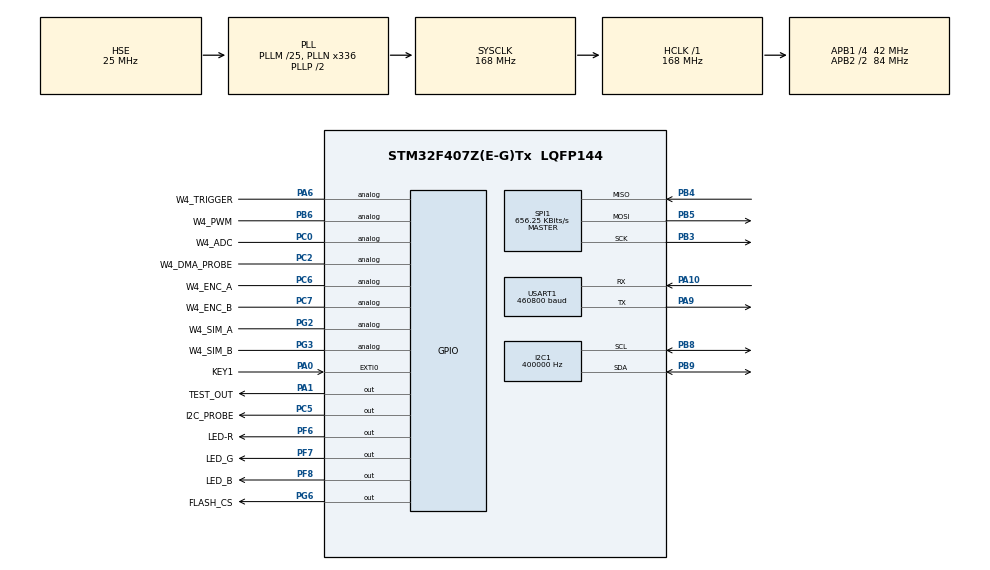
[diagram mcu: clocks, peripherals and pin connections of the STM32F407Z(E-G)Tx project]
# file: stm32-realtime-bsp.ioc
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Dma.Request0=USART1_RX
Dma.Request1=USART1_TX
Dma.USART1_RX.0.Channel=DMA_CHANNEL_4
Dma.USART1_RX.0.Direction=DMA_PERIPH_TO_MEMORY
Dma.USART1_RX.0.FIFOMode=DMA_FIFOMODE_DISABLE
Dma.USART1_RX.0.Instance=DMA2_Stream2
Dma.USART1_RX.0.MemDataAlignment=DMA_MDATAALIGN_BYTE
Dma.USART1_RX.0.MemInc=DMA_MINC_ENABLE
Dma.USART1_RX.0.Mode=DMA_CIRCULAR
Dma.USART1_RX.0.PeriphDataAlignment=DMA_PDATAALIGN_BYTE
Dma.USART1_RX.0.PeriphInc=DMA_PINC_DISABLE
Dma.USART1_RX.0.Priority=DMA_PRIORITY_HIGH
Dma.USART1_TX.1.Channel=DMA_CHANNEL_4
Dma.USART1_TX.1.Direction=DMA_MEMORY_TO_PERIPH
Dma.USART1_TX.1.FIFOMode=DMA_FIFOMODE_DISABLE
Dma.USART1_TX.1.Instance=DMA2_Stream7
Dma.USART1_TX.1.MemDataAlignment=DMA_MDATAALIGN_BYTE
Dma.USART1_TX.1.MemInc=DMA_MINC_ENABLE
Dma.USART1_TX.1.Mode=DMA_NORMAL
Dma.USART1_TX.1.PeriphDataAlignment=DMA_PDATAALIGN_BYTE
Dma.USART1_TX.1.PeriphInc=DMA_PINC_DISABLE
Dma.USART1_TX.1.Priority=DMA_PRIORITY_MEDIUM
I2C1.ClockSpeed=400000
Mcu.Family=STM32F4
Mcu.Name=STM32F407Z(E-G)Tx
Mcu.Package=LQFP144
NVIC.DMA2_Stream2_IRQn=true\:5\:1\:true\:false\:true\:true\:false\:true
NVIC.DMA2_Stream7_IRQn=true\:5\:0\:true\:false\:true\:true\:false\:true
NVIC.EXTI0_IRQn=true\:5\:0\:true\:false\:true\:true\:true\:true
NVIC.PriorityGroup=NVIC_PRIORITYGROUP_4
NVIC.USART1_IRQn=true\:5\:0\:true\:false\:true\:true\:true\:true
PA0-WKUP.GPIO_Label=KEY1
PA0-WKUP.Signal=GPXTI0
PA1.GPIO_Label=TEST_OUT
PA1.GPIO_Speed=GPIO_SPEED_FREQ_VERY_HIGH
PA1.Signal=GPIO_Output
PA10.Mode=Asynchronous
PA10.Signal=USART1_RX
PA13.Mode=Serial_Wire
PA13.Signal=SYS_JTMS-SWDIO
PA14.Mode=Serial_Wire
PA14.Signal=SYS_JTCK-SWCLK
PA6.GPIO_Label=W4_TRIGGER
PA6.Signal=GPIO_Analog
PA9.Mode=Asynchronous
PA9.Signal=USART1_TX
PB3.Mode=Full_Duplex_Master
PB3.Signal=SPI1_SCK
PB4.Mode=Full_Duplex_Master
PB4.Signal=SPI1_MISO
PB5.Mode=Full_Duplex_Master
PB5.Signal=SPI1_MOSI
PB6.GPIO_Label=W4_PWM
PB6.Signal=GPIO_Analog
PB8.Mode=I2C
PB8.Signal=I2C1_SCL
PB9.Mode=I2C
PB9.Signal=I2C1_SDA
PC0.GPIO_Label=W4_ADC
PC0.Signal=GPIO_Analog
PC2.GPIO_Label=W4_DMA_PROBE
PC2.Signal=GPIO_Analog
PC5.GPIO_Label=I2C_PROBE
PC5.GPIO_Speed=GPIO_SPEED_FREQ_VERY_HIGH
PC5.PinState=GPIO_PIN_RESET
PC5.Signal=GPIO_Output
PC6.GPIO_Label=W4_ENC_A
PC6.Signal=GPIO_Analog
PC7.GPIO_Label=W4_ENC_B
PC7.Signal=GPIO_Analog
PF6.GPIO_Label=LED-R
PF6.GPIO_PuPd=GPIO_NOPULL
PF6.PinState=GPIO_PIN_SET
PF6.Signal=GPIO_Output
PF7.GPIO_Label=LED_G
PF7.GPIO_PuPd=GPIO_NOPULL
PF7.PinState=GPIO_PIN_SET
PF7.Signal=GPIO_Output
PF8.GPIO_Label=LED_B
PF8.GPIO_PuPd=GPIO_NOPULL
PF8.PinState=GPIO_PIN_SET
PF8.Signal=GPIO_Output
PG2.GPIO_Label=W4_SIM_A
PG2.Signal=GPIO_Analog
PG3.GPIO_Label=W4_SIM_B
PG3.Signal=GPIO_Analog
PG6.GPIO_Label=FLASH_CS
PG6.GPIO_Speed=GPIO_SPEED_FREQ_VERY_HIGH
PG6.PinState=GPIO_PIN_SET
PG6.Signal=GPIO_Output
PH0-OSC_IN.Mode=HSE-External-Oscillator
PH0-OSC_IN.Signal=RCC_OSC_IN
PH1-OSC_OUT.Mode=HSE-External-Oscillator
PH1-OSC_OUT.Signal=RCC_OSC_OUT
ProjectManager.HeapSize=0x200
ProjectManager.StackSize=0x400
ProjectManager.TargetToolchain=MDK-ARM V5.32
RCC.48MHZClocksFreq_Value=84000000
RCC.AHBFreq_Value=168000000
RCC.APB1CLKDivider=RCC_HCLK_DIV4
RCC.APB1Freq_Value=42000000
RCC.APB1TimFreq_Value=84000000
RCC.APB2CLKDivider=RCC_HCLK_DIV2
RCC.APB2Freq_Value=84000000
RCC.APB2TimFreq_Value=168000000
RCC.CortexFreq_Value=168000000
RCC.HCLKFreq_Value=168000000
RCC.HSE_VALUE=25000000
RCC.HSI_VALUE=16000000
RCC.LSE_VALUE=32768
RCC.PLLM=25
RCC.PLLN=336
RCC.PLLSourceVirtual=RCC_PLLSOURCE_HSE
RCC.SYSCLKFreq_VALUE=168000000
RCC.SYSCLKSource=RCC_SYSCLKSOURCE_PLLCLK
RCC.VCOOutputFreq_Value=336000000
SPI1.BaudRatePrescaler=SPI_BAUDRATEPRESCALER_128
SPI1.CalculateBaudRate=656.25 KBits/s
SPI1.Direction=SPI_DIRECTION_2LINES
SPI1.Mode=SPI_MODE_MASTER
TIM2.Period=4294967295
TIM2.Prescaler=83
USART1.BaudRate=460800
USART1.VirtualMode=VM_ASYNC
VP_TIM2_VS_ClockSourceINT.Mode=Internal
board=custom

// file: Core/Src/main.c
/* USER CODE BEGIN Header */
/**
  ******************************************************************************
  * @file           : main.c
  * @brief          : Main program body
  ******************************************************************************
  * @attention
  *
  * Copyright (c) 2026 STMicroelectronics.
  * All rights reserved.
  *
  * This software is licensed under terms that can be found in the LICENSE file
  * in the root directory of this software component.
  * If no LICENSE file comes with this software, it is provided AS-IS.
  *
  ******************************************************************************
  */
/* USER CODE END Header */
#include "main.h"
#include "dma.h"
#include "usart.h"
#include "gpio.h"

/* USER CODE BEGIN Includes */
#include "app_task.h"
#include "app_memory.h"
#include "app_uart.h"
#include "bsp_uart.h"
#include "bsp_uart_tx.h"
#include "bsp_sensors.h"
#include "app_sensors.h"
#include "i2c.h"
#include "spi.h"
#include "tim.h"
#include "week4_config.h"
#include "app_week4.h"
#include "week5_config.h"
#include "app_week5.h"
/* USER CODE END Includes */

void SystemClock_Config(void);

int main(void)
{

  /* MCU Configuration--------------------------------------------------------*/

  /* Reset of all peripherals, Initializes the Flash interface and the Systick. */
  HAL_Init();

  /* Configure the system clock */
  SystemClock_Config();

  /* Initialize all configured peripherals */
  MX_GPIO_Init();
  MX_DMA_Init();
  MX_USART1_UART_Init();
  MX_I2C1_Init();
  MX_SPI1_Init();
  MX_TIM2_Init();
  /* USER CODE BEGIN 2 */
  APP_Task_Init();
  APP_MemoryProbe();
  BSP_UART_Init();
  APP_UART_Init();
  BSP_UART_TxInit();
  BSP_Sensors_Init();
#if APP_WEEK5
  APP_Week5_Init();
#elif APP_WEEK4
  APP_Week4_Init();
#else
  APP_Sensors_Init();
#endif
  if (BSP_UART_StartRxDMA() != HAL_OK)
  {
    Error_Handler();
  }
  /* USER CODE END 2 */

  /* Infinite loop */
  while (1)
  {

    /* USER CODE BEGIN 3 */
    APP_Task_Run();
#if APP_WEEK5
    APP_Week5_Run();
#elif APP_WEEK4
    APP_Week4_Run();
#else
    APP_Sensors_Run();
#endif
#if !APP_WEEK5
    APP_UART_Run();
#endif
  }
  /* USER CODE END 3 */
}

void SystemClock_Config(void)
{
  RCC_OscInitTypeDef RCC_OscInitStruct = {0};
  RCC_ClkInitTypeDef RCC_ClkInitStruct = {0};

  /** Configure the main internal regulator output voltage
  */
  __HAL_RCC_PWR_CLK_ENABLE();
  __HAL_PWR_VOLTAGESCALING_CONFIG(PWR_REGULATOR_VOLTAGE_SCALE1);

  /** Initializes the RCC Oscillators according to the specified parameters
  * in the RCC_OscInitTypeDef structure.
  */
  RCC_OscInitStruct.OscillatorType = RCC_OSCILLATORTYPE_HSE;
  RCC_OscInitStruct.HSEState = RCC_HSE_ON;
  RCC_OscInitStruct.PLL.PLLState = RCC_PLL_ON;
  RCC_OscInitStruct.PLL.PLLSource = RCC_PLLSOURCE_HSE;
  RCC_OscInitStruct.PLL.PLLM = 25;
  RCC_OscInitStruct.PLL.PLLN = 336;
  RCC_OscInitStruct.PLL.PLLP = RCC_PLLP_DIV2;
  RCC_OscInitStruct.PLL.PLLQ = 4;
  if (HAL_RCC_OscConfig(&RCC_OscInitStruct) != HAL_OK)
  {
    Error_Handler();
  }

  /** Initializes the CPU, AHB and APB buses clocks
  */
  RCC_ClkInitStruct.ClockType = RCC_CLOCKTYPE_HCLK|RCC_CLOCKTYPE_SYSCLK
                              |RCC_CLOCKTYPE_PCLK1|RCC_CLOCKTYPE_PCLK2;
  RCC_ClkInitStruct.SYSCLKSource = RCC_SYSCLKSOURCE_PLLCLK;
  RCC_ClkInitStruct.AHBCLKDivider = RCC_SYSCLK_DIV1;
  RCC_ClkInitStruct.APB1CLKDivider = RCC_HCLK_DIV4;
  RCC_ClkInitStruct.APB2CLKDivider = RCC_HCLK_DIV2;

  if (HAL_RCC_ClockConfig(&RCC_ClkInitStruct, FLASH_LATENCY_5) != HAL_OK)
  {
    Error_Handler();
  }
}

void Error_Handler(void)
{
  __disable_irq();
  while (1)
  {
  }
}
